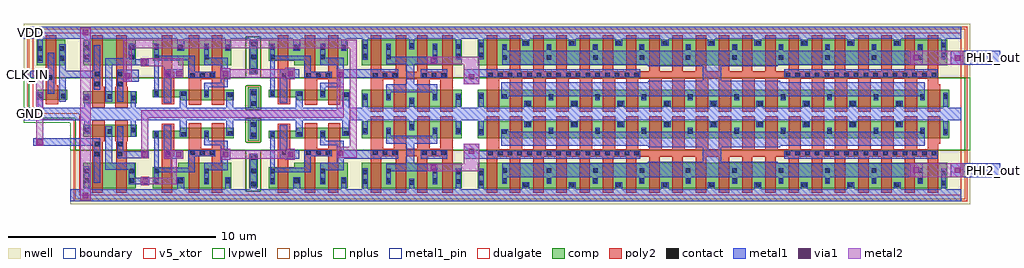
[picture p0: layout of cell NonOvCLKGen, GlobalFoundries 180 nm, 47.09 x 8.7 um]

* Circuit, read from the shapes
.subckt NonOvCLKGen CLK_IN GND PHI1_out PHI2_out VDD
XM1 gf180mcu_fd_sc_mcu7t5v0__nor2_1_3/A2 CLK_IN GND GND nfet_05v0 w=0.48u l=0.6u
XM2 gf180mcu_fd_sc_mcu7t5v0__clkbuf_2_1/I CLK_IN GND GND nfet_05v0 w=0.565u l=0.6u
XM3 gf180mcu_fd_sc_mcu7t5v0__clkbuf_2_0/I gf180mcu_fd_sc_mcu7t5v0__nor2_1_3/A2 GND GND nfet_05v0 w=0.565u l=0.6u
XM4 GND gf180mcu_fd_sc_mcu7t5v0__nor2_1_4/A1 gf180mcu_fd_sc_mcu7t5v0__clkbuf_2_1/I GND nfet_05v0 w=0.565u l=0.6u
XM5 GND gf180mcu_fd_sc_mcu7t5v0__nor2_1_3/A1 gf180mcu_fd_sc_mcu7t5v0__clkbuf_2_0/I GND nfet_05v0 w=0.565u l=0.6u
XM6 GND gf180mcu_fd_sc_mcu7t5v0__clkbuf_2_1/I n1 GND nfet_05v0 w=0.36u l=0.6u
XM7 GND gf180mcu_fd_sc_mcu7t5v0__clkbuf_2_0/I n2 GND nfet_05v0 w=0.36u l=0.6u
XM8 gf180mcu_fd_sc_mcu7t5v0__clkbuf_2_6/I n1 GND GND nfet_05v0 w=0.485u l=0.6u m=2
XM9 gf180mcu_fd_sc_mcu7t5v0__clkbuf_2_5/I n2 GND GND nfet_05v0 w=0.485u l=0.6u m=2
XM10 GND gf180mcu_fd_sc_mcu7t5v0__clkbuf_2_6/I n3 GND nfet_05v0 w=0.36u l=0.6u
XM11 GND gf180mcu_fd_sc_mcu7t5v0__clkbuf_2_5/I n4 GND nfet_05v0 w=0.36u l=0.6u
XM12 gf180mcu_fd_sc_mcu7t5v0__nor2_1_3/A1 n3 GND GND nfet_05v0 w=0.485u l=0.6u m=2
XM13 gf180mcu_fd_sc_mcu7t5v0__nor2_1_4/A1 n4 GND GND nfet_05v0 w=0.485u l=0.6u m=2
XM14 gf180mcu_fd_sc_mcu7t5v0__inv_20_11/I gf180mcu_fd_sc_mcu7t5v0__nor2_1_3/A1 GND GND nfet_05v0 w=0.82u l=0.6u m=4
XM15 gf180mcu_fd_sc_mcu7t5v0__inv_20_12/I gf180mcu_fd_sc_mcu7t5v0__nor2_1_4/A1 GND GND nfet_05v0 w=0.82u l=0.6u m=4
XM16 PHI2_out gf180mcu_fd_sc_mcu7t5v0__inv_20_11/I GND GND nfet_05v0 w=0.82u l=0.6u m=20
XM17 PHI1_out gf180mcu_fd_sc_mcu7t5v0__inv_20_12/I GND GND nfet_05v0 w=0.82u l=0.6u m=20
XM18 gf180mcu_fd_sc_mcu7t5v0__nor2_1_3/A2 CLK_IN VDD VDD pfet_05v0 w=1.22u l=0.5u
XM19 n5 CLK_IN VDD VDD pfet_05v0 w=1.22u l=0.5u
XM20 n6 gf180mcu_fd_sc_mcu7t5v0__nor2_1_3/A2 VDD VDD pfet_05v0 w=1.22u l=0.5u
XM21 gf180mcu_fd_sc_mcu7t5v0__clkbuf_2_1/I gf180mcu_fd_sc_mcu7t5v0__nor2_1_4/A1 n5 VDD pfet_05v0 w=1.22u l=0.5u
XM22 gf180mcu_fd_sc_mcu7t5v0__clkbuf_2_0/I gf180mcu_fd_sc_mcu7t5v0__nor2_1_3/A1 n6 VDD pfet_05v0 w=1.22u l=0.5u
XM23 VDD gf180mcu_fd_sc_mcu7t5v0__clkbuf_2_1/I n1 VDD pfet_05v0 w=1.02u l=0.5u
XM24 VDD gf180mcu_fd_sc_mcu7t5v0__clkbuf_2_0/I n2 VDD pfet_05v0 w=1.02u l=0.5u
XM25 gf180mcu_fd_sc_mcu7t5v0__clkbuf_2_6/I n1 VDD VDD pfet_05v0 w=1.22u l=0.5u m=2
XM26 gf180mcu_fd_sc_mcu7t5v0__clkbuf_2_5/I n2 VDD VDD pfet_05v0 w=1.22u l=0.5u m=2
XM27 VDD gf180mcu_fd_sc_mcu7t5v0__clkbuf_2_6/I n3 VDD pfet_05v0 w=1.02u l=0.5u
XM28 VDD gf180mcu_fd_sc_mcu7t5v0__clkbuf_2_5/I n4 VDD pfet_05v0 w=1.02u l=0.5u
XM29 gf180mcu_fd_sc_mcu7t5v0__nor2_1_3/A1 n3 VDD VDD pfet_05v0 w=1.22u l=0.5u m=2
XM30 gf180mcu_fd_sc_mcu7t5v0__nor2_1_4/A1 n4 VDD VDD pfet_05v0 w=1.22u l=0.5u m=2
XM31 gf180mcu_fd_sc_mcu7t5v0__inv_20_11/I gf180mcu_fd_sc_mcu7t5v0__nor2_1_3/A1 VDD VDD pfet_05v0 w=1.22u l=0.5u m=4
XM32 gf180mcu_fd_sc_mcu7t5v0__inv_20_12/I gf180mcu_fd_sc_mcu7t5v0__nor2_1_4/A1 VDD VDD pfet_05v0 w=1.22u l=0.5u m=4
XM33 PHI2_out gf180mcu_fd_sc_mcu7t5v0__inv_20_11/I VDD VDD pfet_05v0 w=1.22u l=0.5u m=20
XM34 PHI1_out gf180mcu_fd_sc_mcu7t5v0__inv_20_12/I VDD VDD pfet_05v0 w=1.22u l=0.5u m=20
.ends

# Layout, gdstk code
import gdstk
lib = gdstk.Library(unit=1e-6, precision=1e-09)
def R(c, l, rs):  # rectangles x0, y0, x1, y1
    for r in rs: c.add(gdstk.rectangle(r[:2], r[2:], *l))
def A(c, l, x, y, w, h, nx, ny, dx, dy):  # array of equal rectangles
    R(c, l, [(x+i*dx, y+j*dy, x+i*dx+w, y+j*dy+h) for i in range(nx) for j in range(ny)])
def P(c, l, *ps):  # polygons
    for p in ps: c.add(gdstk.Polygon(p, *l))
boundary = (0, 0)
nwell = (21, 0)
comp = (22, 0)
poly2 = (30, 0)
pplus = (31, 0)
nplus = (32, 0)
contact = (33, 0)
metal1 = (34, 0)
metal1_pin = (34, 10)
via1 = (35, 0)
metal2 = (36, 0)
dualgate = (55, 0)
v5_xtor = (112, 1)
lvpwell = (204, 0)

gf180mcu_fd_sc_mcu7t5v0_ = lib.new_cell('gf180mcu_fd_sc_mcu7t5v0__clkbuf_2')
R(gf180mcu_fd_sc_mcu7t5v0_, boundary, [(0,0,4.48,3.92)])
R(gf180mcu_fd_sc_mcu7t5v0_, nwell, [(-0.43,1.76,4.91,4.35)])
P(gf180mcu_fd_sc_mcu7t5v0_, comp, [(1.42,2.36),(1.42,2.56),(0.18,2.56),(0.18,3.58),(3.98,3.58),(3.98,2.36)],
  [(1.52,0.675),(1.52,0.8),(0.18,0.8),(0.18,1.16),(4.08,1.16),(4.08,0.675)])
P(gf180mcu_fd_sc_mcu7t5v0_, poly2, [(0.62,0.47),(0.62,3.8),(1.12,3.8),(1.12,2.035),(1.22,2.035),(1.22,0.47)],
  [(1.92,0.45),(1.92,3.8),(2.42,3.8),(2.42,2.035),(3.04,2.035),(3.04,3.8),(3.54,3.8),(3.54,2.035),(3.64,2.035),(3.64,0.45),(3.04,0.45),(3.04,1.675),(2.52,1.675),(2.52,0.45)])
R(gf180mcu_fd_sc_mcu7t5v0_, pplus, [(-0.2,1.76,4.68,4.12)])
R(gf180mcu_fd_sc_mcu7t5v0_, nplus, [(-0.2,-0.2,4.68,1.76)])
A(gf180mcu_fd_sc_mcu7t5v0_, contact, 1.99, 1.745, 0.22, 0.22, 3, 1, 0.47, 0)
R(gf180mcu_fd_sc_mcu7t5v0_, contact, [(3.79,0.825,4.01,1.045), (0.25,0.87,0.47,1.09), (1.55,0.87,1.77,1.09), (2.67,0.87,2.89,1.09), (0.8,1.745,1.02,1.965), (0.25,2.64,0.47,2.86), (2.67,2.64,2.89,2.86), (0.25,3.11,0.47,3.33), (1.42,3.11,1.64,3.33), (2.67,3.11,2.89,3.33), (3.69,3.11,3.91,3.33)])
P(gf180mcu_fd_sc_mcu7t5v0_, metal1, [(0.705,0.55),(0.705,2.15),(1.65,2.15),(1.65,1.74),(1.08,1.74),(1.08,0.55)],
  [(0.245,0.805),(0.245,3.39),(0.475,3.39),(0.475,2.82),(2.215,2.82),(2.215,2.04),(3.21,2.04),(3.21,1.74),(1.89,1.74),(1.89,2.59),(0.475,2.59),(0.475,0.805)],
  [(2.665,0.8),(2.665,1.51),(3.47,1.51),(3.47,2.36),(2.665,2.36),(2.665,3.39),(2.895,3.39),(2.895,2.71),(3.81,2.71),(3.81,1.28),(2.895,1.28),(2.895,0.8)],
  [(0,-0.3),(0,0.3),(1.49,0.3),(1.49,1.095),(1.83,1.095),(1.83,0.3),(3.73,0.3),(3.73,1.05),(4.07,1.05),(4.07,0.3),(4.48,0.3),(4.48,-0.3)],
  [(1.36,3.05),(1.36,3.62),(0,3.62),(0,4.22),(4.48,4.22),(4.48,3.62),(3.915,3.62),(3.915,3.05),(3.685,3.05),(3.685,3.62),(1.7,3.62),(1.7,3.05)])
R(gf180mcu_fd_sc_mcu7t5v0_, dualgate, [(-0.28,-0.28,4.76,4.2)])
R(gf180mcu_fd_sc_mcu7t5v0_, v5_xtor, [(0,0,4.48,3.92)])
R(gf180mcu_fd_sc_mcu7t5v0_, lvpwell, [(-0.43,-0.43,4.91,1.76)])
gf180mcu_fd_sc_mcu7t5v0_.add(gdstk.Label('Z', (3.08,2.52), layer=34, texttype=10))
gf180mcu_fd_sc_mcu7t5v0_.add(gdstk.Label('VSS', (2.185,0), layer=34, texttype=10))
gf180mcu_fd_sc_mcu7t5v0_.add(gdstk.Label('VDD', (2.185,3.92), layer=34, texttype=10))
gf180mcu_fd_sc_mcu7t5v0_.add(gdstk.Label('I', (0.84,1.4), layer=34, texttype=10))
gf180mcu_fd_sc_mcu7t5v0_.add(gdstk.Label('& Vendor GLOBALFOUNDRIES', (0,2), layer=63, texttype=63))
gf180mcu_fd_sc_mcu7t5v0_.add(gdstk.Label('& Product GF018hv5v_mcu_sc7', (0,1.5), layer=63, texttype=63))
gf180mcu_fd_sc_mcu7t5v0_.add(gdstk.Label('& Version 2015q2v1', (0,1), layer=63, texttype=63))
gf180mcu_fd_sc_mcu7t5v0_.add(gdstk.Label('& Metric 1.00', (0,0.5), layer=63, texttype=63))
gf180mcu_fd_sc_mcu7t5v0_.add(gdstk.Label('VNW', (0.345,3.92), layer=21, texttype=10))
gf180mcu_fd_sc_mcu7t5v0_.add(gdstk.Label('VPW', (0.34,-0.085), layer=204, texttype=10))

c_gf180mcu_fd_sc_mcu7t5v0_ = lib.new_cell('gf180mcu_fd_sc_mcu7t5v0__clkinv_1')
R(c_gf180mcu_fd_sc_mcu7t5v0_, boundary, [(0,0,2.24,3.92)])
R(c_gf180mcu_fd_sc_mcu7t5v0_, nwell, [(-0.43,1.76,2.67,4.35)])
R(c_gf180mcu_fd_sc_mcu7t5v0_, comp, [(0.18,0.68,1.66,1.16), (0.18,2.36,1.56,3.58)])
P(c_gf180mcu_fd_sc_mcu7t5v0_, poly2, [(0.62,0.46),(0.62,3.8),(1.12,3.8),(1.12,1.38),(1.22,1.38),(1.22,0.46)])
R(c_gf180mcu_fd_sc_mcu7t5v0_, pplus, [(-0.2,1.76,2.44,4.12)])
R(c_gf180mcu_fd_sc_mcu7t5v0_, nplus, [(-0.2,-0.2,2.44,1.76)])
R(c_gf180mcu_fd_sc_mcu7t5v0_, contact, [(0.25,0.76,0.47,0.98), (1.37,0.76,1.59,0.98), (0.71,1.66,0.93,1.88), (0.25,2.58,0.47,2.8), (1.27,2.58,1.49,2.8), (0.25,3.05,0.47,3.27), (1.27,3.05,1.49,3.27)])
R(c_gf180mcu_fd_sc_mcu7t5v0_, metal1, [(1.26,0.6,1.595,3.37), (0.705,0.97,1.03,2.95)])
P(c_gf180mcu_fd_sc_mcu7t5v0_, metal1, [(0,-0.3),(0,0.3),(0.245,0.3),(0.245,1.04),(0.475,1.04),(0.475,0.3),(2.24,0.3),(2.24,-0.3)],
  [(0.245,2.48),(0.245,3.62),(0,3.62),(0,4.22),(2.24,4.22),(2.24,3.62),(0.475,3.62),(0.475,2.48)])
R(c_gf180mcu_fd_sc_mcu7t5v0_, dualgate, [(-0.28,-0.28,2.52,4.2)])
R(c_gf180mcu_fd_sc_mcu7t5v0_, v5_xtor, [(0,0,2.24,3.92)])
R(c_gf180mcu_fd_sc_mcu7t5v0_, lvpwell, [(-0.43,-0.43,2.67,1.76)])
c_gf180mcu_fd_sc_mcu7t5v0_.add(gdstk.Label('VDD', (1.4,3.92), layer=34, texttype=10))
c_gf180mcu_fd_sc_mcu7t5v0_.add(gdstk.Label('VSS', (1.4,0), layer=34, texttype=10))
c_gf180mcu_fd_sc_mcu7t5v0_.add(gdstk.Label('I', (0.84,1.96), layer=34, texttype=10))
c_gf180mcu_fd_sc_mcu7t5v0_.add(gdstk.Label('ZN', (1.4,1.96), layer=34, texttype=10))
c_gf180mcu_fd_sc_mcu7t5v0_.add(gdstk.Label('& Vendor GLOBALFOUNDRIES', (0,2), layer=63, texttype=63))
c_gf180mcu_fd_sc_mcu7t5v0_.add(gdstk.Label('& Product GF018hv5v_mcu_sc7', (0,1.5), layer=63, texttype=63))
c_gf180mcu_fd_sc_mcu7t5v0_.add(gdstk.Label('& Version 2015q2v1', (0,1), layer=63, texttype=63))
c_gf180mcu_fd_sc_mcu7t5v0_.add(gdstk.Label('& Metric 1.00', (0,0.5), layer=63, texttype=63))
c_gf180mcu_fd_sc_mcu7t5v0_.add(gdstk.Label('VNW', (0.345,3.92), layer=21, texttype=10))
c_gf180mcu_fd_sc_mcu7t5v0_.add(gdstk.Label('VPW', (0.34,-0.085), layer=204, texttype=10))

c_gf180mcu_fd_sc_mcu7t5v0__ = lib.new_cell('gf180mcu_fd_sc_mcu7t5v0__nor2_1')
R(c_gf180mcu_fd_sc_mcu7t5v0__, boundary, [(0,0,3.36,3.92)])
R(c_gf180mcu_fd_sc_mcu7t5v0__, nwell, [(-0.43,1.76,3.79,4.35)])
R(c_gf180mcu_fd_sc_mcu7t5v0__, comp, [(0.18,0.525,2.78,1.09), (0.18,2.36,2.73,3.58)])
P(c_gf180mcu_fd_sc_mcu7t5v0__, poly2, [(0.62,0.305),(0.62,3.8),(1.12,3.8),(1.12,1.315),(1.22,1.315),(1.22,0.305)],
  [(1.74,0.305),(1.74,1.315),(1.79,1.315),(1.79,3.8),(2.29,3.8),(2.29,1.315),(2.34,1.315),(2.34,0.305)])
R(c_gf180mcu_fd_sc_mcu7t5v0__, pplus, [(-0.2,1.76,3.56,4.12)])
R(c_gf180mcu_fd_sc_mcu7t5v0__, nplus, [(-0.2,-0.2,3.56,1.76)])
R(c_gf180mcu_fd_sc_mcu7t5v0__, contact, [(0.25,0.665,0.47,0.885), (2.49,0.665,2.71,0.885), (1.37,0.735,1.59,0.955), (0.74,1.345,0.96,1.565), (1.86,1.345,2.08,1.565), (0.74,1.815,0.96,2.035), (1.86,1.815,2.08,2.035), (0.25,2.63,0.47,2.85), (2.44,2.63,2.66,2.85), (0.25,3.1,0.47,3.32), (2.44,3.1,2.66,3.32)])
R(c_gf180mcu_fd_sc_mcu7t5v0__, metal1, [(0.705,1.18,1.01,3.32)])
P(c_gf180mcu_fd_sc_mcu7t5v0__, metal1, [(1.24,0.6),(1.24,2.68),(2.385,2.68),(2.385,3.38),(2.665,3.38),(2.665,2.36),(1.595,2.36),(1.595,0.6)],
  [(1.825,0.6),(1.825,2.13),(2.855,2.13),(2.855,1.79),(2.13,1.79),(2.13,0.6)],
  [(0,-0.3),(0,0.3),(0.245,0.3),(0.245,0.945),(0.475,0.945),(0.475,0.3),(2.485,0.3),(2.485,1.09),(2.715,1.09),(2.715,0.3),(3.36,0.3),(3.36,-0.3)],
  [(0.245,2.53),(0.245,3.62),(0,3.62),(0,4.22),(3.36,4.22),(3.36,3.62),(0.475,3.62),(0.475,2.53)])
R(c_gf180mcu_fd_sc_mcu7t5v0__, dualgate, [(-0.28,-0.28,3.64,4.2)])
R(c_gf180mcu_fd_sc_mcu7t5v0__, v5_xtor, [(0,0,3.36,3.92)])
R(c_gf180mcu_fd_sc_mcu7t5v0__, lvpwell, [(-0.43,-0.43,3.79,1.76)])
c_gf180mcu_fd_sc_mcu7t5v0__.add(gdstk.Label('VDD', (1.68,3.925), layer=34, texttype=10))
c_gf180mcu_fd_sc_mcu7t5v0__.add(gdstk.Label('VSS', (1.68,0), layer=34, texttype=10))
c_gf180mcu_fd_sc_mcu7t5v0__.add(gdstk.Label('ZN', (1.96,2.52), layer=34, texttype=10))
c_gf180mcu_fd_sc_mcu7t5v0__.add(gdstk.Label('A1', (1.96,1.4), layer=34, texttype=10))
c_gf180mcu_fd_sc_mcu7t5v0__.add(gdstk.Label('A2', (0.84,2.52), layer=34, texttype=10))
c_gf180mcu_fd_sc_mcu7t5v0__.add(gdstk.Label('& Vendor GLOBALFOUNDRIES', (0,2), layer=63, texttype=63))
c_gf180mcu_fd_sc_mcu7t5v0__.add(gdstk.Label('& Product GF018hv5v_mcu_sc7', (0,1.5), layer=63, texttype=63))
c_gf180mcu_fd_sc_mcu7t5v0__.add(gdstk.Label('& Version 2015q2v1', (0,1), layer=63, texttype=63))
c_gf180mcu_fd_sc_mcu7t5v0__.add(gdstk.Label('& Metric 1.00', (0,0.5), layer=63, texttype=63))
c_gf180mcu_fd_sc_mcu7t5v0__.add(gdstk.Label('VNW', (0.345,3.92), layer=21, texttype=10))
c_gf180mcu_fd_sc_mcu7t5v0__.add(gdstk.Label('VPW', (0.34,-0.085), layer=204, texttype=10))

c_gf180mcu_fd_sc_mcu7t5v0___ = lib.new_cell('gf180mcu_fd_sc_mcu7t5v0__filltie')
R(c_gf180mcu_fd_sc_mcu7t5v0___, boundary, [(0,0,1.12,3.92)])
R(c_gf180mcu_fd_sc_mcu7t5v0___, nwell, [(-0.43,1.76,1.55,4.35)])
R(c_gf180mcu_fd_sc_mcu7t5v0___, comp, [(0.28,0.28,0.84,1.28), (0.36,1.92,0.76,3.56)])
R(c_gf180mcu_fd_sc_mcu7t5v0___, pplus, [(0.2,0.2,0.92,1.36)])
P(c_gf180mcu_fd_sc_mcu7t5v0___, pplus, [(-0.2,1.76),(-0.2,4.12),(1.32,4.12),(1.32,1.76),(0.92,1.76),(0.92,3.72),(0.2,3.72),(0.2,1.76)])
P(c_gf180mcu_fd_sc_mcu7t5v0___, nplus, [(-0.2,-0.2),(-0.2,1.76),(0.2,1.76),(0.2,3.72),(0.92,3.72),(0.92,1.36),(0.2,1.36),(0.2,0.2),(0.92,0.2),(0.92,3.72),(0.92,1.76),(1.32,1.76),(1.32,-0.2)])
A(c_gf180mcu_fd_sc_mcu7t5v0___, contact, 0.45, 1.99, 0.22, 0.22, 1, 3, 0, 0.64)
R(c_gf180mcu_fd_sc_mcu7t5v0___, contact, [(0.45,0.4,0.67,0.62), (0.45,0.905,0.67,1.125)])
P(c_gf180mcu_fd_sc_mcu7t5v0___, metal1, [(0,-0.3),(0,0.3),(0.39,0.3),(0.39,1.185),(0.73,1.185),(0.73,0.3),(1.12,0.3),(1.12,-0.3)],
  [(0.39,1.93),(0.39,3.62),(0,3.62),(0,4.22),(1.12,4.22),(1.12,3.62),(0.73,3.62),(0.73,1.93)])
R(c_gf180mcu_fd_sc_mcu7t5v0___, dualgate, [(-0.28,-0.28,1.4,4.2)])
R(c_gf180mcu_fd_sc_mcu7t5v0___, v5_xtor, [(0,0,1.12,3.92)])
R(c_gf180mcu_fd_sc_mcu7t5v0___, lvpwell, [(-0.43,-0.43,1.55,1.76)])
c_gf180mcu_fd_sc_mcu7t5v0___.add(gdstk.Label('VDD', (0.57,3.92), layer=34, texttype=10))
c_gf180mcu_fd_sc_mcu7t5v0___.add(gdstk.Label('VSS', (0.57,0), layer=34, texttype=10))
c_gf180mcu_fd_sc_mcu7t5v0___.add(gdstk.Label('& Vendor GLOBALFOUNDRIES', (0,2), layer=63, texttype=63))
c_gf180mcu_fd_sc_mcu7t5v0___.add(gdstk.Label('& Product GF018hv5v_mcu_sc7', (0,1.5), layer=63, texttype=63))
c_gf180mcu_fd_sc_mcu7t5v0___.add(gdstk.Label('& Version 2015q2v1', (0,1), layer=63, texttype=63))
c_gf180mcu_fd_sc_mcu7t5v0___.add(gdstk.Label('& Metric 1.00', (0,0.5), layer=63, texttype=63))

c_gf180mcu_fd_sc_mcu7t5v0____ = lib.new_cell('gf180mcu_fd_sc_mcu7t5v0__inv_4')
R(c_gf180mcu_fd_sc_mcu7t5v0____, boundary, [(0,0,5.6,3.92)])
R(c_gf180mcu_fd_sc_mcu7t5v0____, nwell, [(-0.43,1.76,6.03,4.35)])
R(c_gf180mcu_fd_sc_mcu7t5v0____, comp, [(0.18,0.34,5.02,1.16), (0.18,2.36,5.02,3.58)])
P(c_gf180mcu_fd_sc_mcu7t5v0____, poly2, [(0.62,0.12),(0.62,3.8),(1.12,3.8),(1.12,2.035),(1.84,2.035),(1.84,3.8),(2.34,3.8),(2.34,2.035),(2.86,2.035),(2.86,3.8),(3.36,3.8),(3.36,2.035),(4.08,2.035),(4.08,3.8),(4.58,3.8),(4.58,0.12),(3.98,0.12),(3.98,1.675),(3.46,1.675),(3.46,0.12),(2.86,0.12),(2.86,1.675),(2.34,1.675),(2.34,0.12),(1.74,0.12),(1.74,1.675),(1.22,1.675),(1.22,0.12)])
R(c_gf180mcu_fd_sc_mcu7t5v0____, pplus, [(-0.2,1.76,5.8,4.12)])
R(c_gf180mcu_fd_sc_mcu7t5v0____, nplus, [(-0.2,-0.2,5.8,1.76)])
A(c_gf180mcu_fd_sc_mcu7t5v0____, contact, 0.73, 1.745, 0.22, 0.22, 3, 1, 0.47, 0)
A(c_gf180mcu_fd_sc_mcu7t5v0____, contact, 3.095, 1.745, 0.22, 0.22, 3, 1, 0.47, 0)
R(c_gf180mcu_fd_sc_mcu7t5v0____, contact, [(2.49,0.49,2.71,0.71), (0.25,0.69,0.47,0.91), (4.73,0.69,4.95,0.91), (1.37,0.735,1.59,0.955), (3.61,0.735,3.83,0.955), (1.37,2.63,1.59,2.85), (3.61,2.63,3.83,2.85), (0.25,2.68,0.47,2.9), (4.73,2.68,4.95,2.9), (1.37,3.1,1.59,3.32), (3.61,3.1,3.83,3.32), (0.25,3.15,0.47,3.37), (4.73,3.15,4.95,3.37), (2.49,3.19,2.71,3.41)])
R(c_gf180mcu_fd_sc_mcu7t5v0____, metal1, [(0.37,1.74,1.95,2.15), (3.035,1.74,4.315,2.15)])
P(c_gf180mcu_fd_sc_mcu7t5v0____, metal1, [(1.365,0.675),(1.365,1.44),(2.33,1.44),(2.33,2.39),(1.365,2.39),(1.365,3.39),(1.595,3.39),(1.595,2.77),(3.605,2.77),(3.605,3.39),(3.835,3.39),(3.835,2.39),(2.71,2.39),(2.71,1.44),(3.835,1.44),(3.835,0.675),(3.605,0.675),(3.605,1.06),(1.595,1.06),(1.595,0.675)],
  [(0,-0.3),(0,0.3),(0.245,0.3),(0.245,0.97),(0.475,0.97),(0.475,0.3),(2.485,0.3),(2.485,0.775),(2.715,0.775),(2.715,0.3),(4.725,0.3),(4.725,0.975),(4.955,0.975),(4.955,0.3),(5.6,0.3),(5.6,-0.3)],
  [(0.245,2.615),(0.245,3.62),(0,3.62),(0,4.22),(5.6,4.22),(5.6,3.62),(4.955,3.62),(4.955,2.62),(4.725,2.62),(4.725,3.62),(2.715,3.62),(2.715,3.13),(2.485,3.13),(2.485,3.62),(0.475,3.62),(0.475,2.615)])
R(c_gf180mcu_fd_sc_mcu7t5v0____, dualgate, [(-0.28,-0.28,5.88,4.2)])
R(c_gf180mcu_fd_sc_mcu7t5v0____, v5_xtor, [(0,0,5.6,3.92)])
R(c_gf180mcu_fd_sc_mcu7t5v0____, lvpwell, [(-0.43,-0.43,6.03,1.76)])
c_gf180mcu_fd_sc_mcu7t5v0____.add(gdstk.Label('VSS', (2.8,-0.025), layer=34, texttype=10))
c_gf180mcu_fd_sc_mcu7t5v0____.add(gdstk.Label('ZN', (2.52,1.96), layer=34, texttype=10))
c_gf180mcu_fd_sc_mcu7t5v0____.add(gdstk.Label('I', (1.4,1.96), layer=34, texttype=10))
c_gf180mcu_fd_sc_mcu7t5v0____.add(gdstk.Label('VDD', (2.8,3.93), layer=34, texttype=10))
c_gf180mcu_fd_sc_mcu7t5v0____.add(gdstk.Label('& Vendor GLOBALFOUNDRIES', (0,2), layer=63, texttype=63))
c_gf180mcu_fd_sc_mcu7t5v0____.add(gdstk.Label('& Product GF018hv5v_mcu_sc7', (0,1.5), layer=63, texttype=63))
c_gf180mcu_fd_sc_mcu7t5v0____.add(gdstk.Label('& Version 2015q2v1', (0,1), layer=63, texttype=63))
c_gf180mcu_fd_sc_mcu7t5v0____.add(gdstk.Label('& Metric 1.00', (0,0.5), layer=63, texttype=63))
c_gf180mcu_fd_sc_mcu7t5v0____.add(gdstk.Label('VNW', (0.345,3.92), layer=21, texttype=10))
c_gf180mcu_fd_sc_mcu7t5v0____.add(gdstk.Label('VPW', (0.34,-0.085), layer=204, texttype=10))

c_gf180mcu_fd_sc_mcu7t5v0_____ = lib.new_cell('gf180mcu_fd_sc_mcu7t5v0__inv_20')
R(c_gf180mcu_fd_sc_mcu7t5v0_____, boundary, [(0,0,23.52,3.92)])
R(c_gf180mcu_fd_sc_mcu7t5v0_____, nwell, [(-0.43,1.76,23.95,4.35)])
R(c_gf180mcu_fd_sc_mcu7t5v0_____, comp, [(0.18,0.34,22.94,1.16), (0.18,2.36,22.84,3.58)])
P(c_gf180mcu_fd_sc_mcu7t5v0_____, poly2, [(0.62,0.12),(0.62,3.8),(1.12,3.8),(1.12,2.06),(1.74,2.06),(1.74,3.8),(2.24,3.8),(2.24,2.06),(2.86,2.06),(2.86,3.8),(3.36,3.8),(3.36,2.06),(3.98,2.06),(3.98,3.8),(4.48,3.8),(4.48,2.06),(5.1,2.06),(5.1,3.8),(5.6,3.8),(5.6,2.06),(6.22,2.06),(6.22,3.8),(6.72,3.8),(6.72,2.06),(7.34,2.06),(7.34,3.8),(7.84,3.8),(7.84,2.06),(8.46,2.06),(8.46,3.8),(8.96,3.8),(8.96,2.06),(9.58,2.06),(9.58,3.8),(10.08,3.8),(10.08,2.06),(10.7,2.06),(10.7,3.8),(11.2,3.8),(11.2,2.06),(11.82,2.06),(11.82,3.8),(12.32,3.8),(12.32,2.06),(12.94,2.06),(12.94,3.8),(13.44,3.8),(13.44,2.06),(14.06,2.06),(14.06,3.8),(14.56,3.8),(14.56,2.06),(15.18,2.06),(15.18,3.8),(15.68,3.8),(15.68,2.06),(16.3,2.06),(16.3,3.8),(16.8,3.8),(16.8,2.06),(17.42,2.06),(17.42,3.8),(17.92,3.8),(17.92,2.06),(18.54,2.06),(18.54,3.8),(19.04,3.8),(19.04,2.06),(19.66,2.06),(19.66,3.8),(20.16,3.8),(20.16,2.06),(20.78,2.06),(20.78,3.8),(21.28,3.8),(21.28,2.06),(21.9,2.06),(21.9,3.8),(22.4,3.8),(22.4,1.44),(22.5,1.44),(22.5,0.12),(21.9,0.12),(21.9,1.7),(21.38,1.7),(21.38,0.12),(20.78,0.12),(20.78,1.7),(20.26,1.7),(20.26,0.12),(19.66,0.12),(19.66,1.7),(19.14,1.7),(19.14,0.12),(18.54,0.12),(18.54,1.7),(18.02,1.7),(18.02,0.12),(17.42,0.12),(17.42,1.7),(16.9,1.7),(16.9,0.12),(16.3,0.12),(16.3,1.7),(15.78,1.7),(15.78,0.12),(15.18,0.12),(15.18,1.7),(14.66,1.7),(14.66,0.12),(14.06,0.12),(14.06,1.7),(13.54,1.7),(13.54,0.12),(12.94,0.12),(12.94,1.7),(12.42,1.7),(12.42,0.12),(11.82,0.12),(11.82,1.7),(11.3,1.7),(11.3,0.12),(10.7,0.12),(10.7,1.7),(10.18,1.7),(10.18,0.12),(9.58,0.12),(9.58,1.7),(9.06,1.7),(9.06,0.12),(8.46,0.12),(8.46,1.7),(7.94,1.7),(7.94,0.12),(7.34,0.12),(7.34,1.7),(6.82,1.7),(6.82,0.12),(6.22,0.12),(6.22,1.7),(5.7,1.7),(5.7,0.12),(5.1,0.12),(5.1,1.7),(4.58,1.7),(4.58,0.12),(3.98,0.12),(3.98,1.7),(3.46,1.7),(3.46,0.12),(2.86,0.12),(2.86,1.7),(2.34,1.7),(2.34,0.12),(1.74,0.12),(1.74,1.7),(1.22,1.7),(1.22,0.12)])
R(c_gf180mcu_fd_sc_mcu7t5v0_____, pplus, [(-0.2,1.76,23.72,4.12)])
R(c_gf180mcu_fd_sc_mcu7t5v0_____, nplus, [(-0.2,-0.2,23.72,1.76)])
A(c_gf180mcu_fd_sc_mcu7t5v0_____, contact, 2.49, 0.41, 0.22, 0.22, 9, 1, 2.24, 0)
A(c_gf180mcu_fd_sc_mcu7t5v0_____, contact, 1.37, 0.735, 0.22, 0.22, 10, 1, 2.24, 0)
A(c_gf180mcu_fd_sc_mcu7t5v0_____, contact, 0.69, 1.77, 0.22, 0.22, 16, 1, 0.47, 0)
A(c_gf180mcu_fd_sc_mcu7t5v0_____, contact, 15.045, 1.77, 0.22, 0.22, 16, 1, 0.47, 0)
A(c_gf180mcu_fd_sc_mcu7t5v0_____, contact, 3.51, 2.625, 0.22, 0.22, 9, 2, 2.24, 0.47)
A(c_gf180mcu_fd_sc_mcu7t5v0_____, contact, 2.39, 3.29, 0.22, 0.22, 9, 1, 2.24, 0)
R(c_gf180mcu_fd_sc_mcu7t5v0_____, contact, [(0.25,0.735,0.47,0.955), (22.65,0.735,22.87,0.955), (1.37,2.625,1.59,2.845), (0.25,2.74,0.47,2.96), (22.55,2.74,22.77,2.96), (1.37,3.095,1.59,3.315), (0.25,3.21,0.47,3.43), (22.55,3.21,22.77,3.43)])
R(c_gf180mcu_fd_sc_mcu7t5v0_____, metal1, [(0.61,1.765,8.02,2.15), (14.985,1.765,22.375,2.15)])
P(c_gf180mcu_fd_sc_mcu7t5v0_____, metal1, [(3.605,0.675),(3.605,0.865),(1.65,0.865),(1.65,0.73),(1.31,0.73),(1.31,1.535),(8.415,1.535),(8.415,1.605),(11.03,1.605),(11.03,2.315),(8.395,2.315),(8.395,2.38),(1.365,2.38),(1.365,3.375),(1.595,3.375),(1.595,3.055),(3.505,3.055),(3.505,3.375),(3.735,3.375),(3.735,3.055),(5.745,3.055),(5.745,3.375),(5.975,3.375),(5.975,3.055),(7.985,3.055),(7.985,3.375),(8.215,3.375),(8.215,3.055),(10.225,3.055),(10.225,3.375),(10.455,3.375),(10.455,3.055),(12.465,3.055),(12.465,3.375),(12.695,3.375),(12.695,3.055),(14.705,3.055),(14.705,3.375),(14.935,3.375),(14.935,3.055),(16.945,3.055),(16.945,3.375),(17.175,3.375),(17.175,3.055),(19.185,3.055),(19.185,3.375),(19.415,3.375),(19.415,3.055),(21.425,3.055),(21.425,3.375),(21.655,3.375),(21.655,2.38),(14.665,2.38),(14.665,2.315),(11.93,2.315),(11.93,1.605),(14.77,1.605),(14.77,1.535),(21.755,1.535),(21.755,0.675),(21.525,0.675),(21.525,0.865),(19.515,0.865),(19.515,0.675),(19.285,0.675),(19.285,0.865),(17.275,0.865),(17.275,0.675),(17.045,0.675),(17.045,0.865),(15.035,0.865),(15.035,0.675),(14.805,0.675),(14.805,0.865),(12.795,0.865),(12.795,0.675),(12.565,0.675),(12.565,0.865),(10.555,0.865),(10.555,0.675),(10.325,0.675),(10.325,0.865),(8.315,0.865),(8.315,0.675),(8.085,0.675),(8.085,0.865),(6.075,0.865),(6.075,0.675),(5.845,0.675),(5.845,0.865),(3.835,0.865),(3.835,0.675)],
  [(0,-0.3),(0,0.3),(0.245,0.3),(0.245,1.015),(0.475,1.015),(0.475,0.3),(2.43,0.3),(2.43,0.635),(2.77,0.635),(2.77,0.3),(4.67,0.3),(4.67,0.635),(5.01,0.635),(5.01,0.3),(6.91,0.3),(6.91,0.635),(7.25,0.635),(7.25,0.3),(9.15,0.3),(9.15,0.635),(9.49,0.635),(9.49,0.3),(11.39,0.3),(11.39,0.635),(11.73,0.635),(11.73,0.3),(13.63,0.3),(13.63,0.635),(13.97,0.635),(13.97,0.3),(15.87,0.3),(15.87,0.635),(16.21,0.635),(16.21,0.3),(18.11,0.3),(18.11,0.635),(18.45,0.635),(18.45,0.3),(20.35,0.3),(20.35,0.635),(20.69,0.635),(20.69,0.3),(22.645,0.3),(22.645,1.015),(22.875,1.015),(22.875,0.3),(23.52,0.3),(23.52,-0.3)],
  [(0.245,2.64),(0.245,3.62),(0,3.62),(0,4.22),(23.52,4.22),(23.52,3.62),(22.775,3.62),(22.775,2.64),(22.545,2.64),(22.545,3.62),(20.59,3.62),(20.59,3.285),(20.25,3.285),(20.25,3.62),(18.35,3.62),(18.35,3.285),(18.01,3.285),(18.01,3.62),(16.11,3.62),(16.11,3.285),(15.77,3.285),(15.77,3.62),(13.87,3.62),(13.87,3.285),(13.53,3.285),(13.53,3.62),(11.63,3.62),(11.63,3.285),(11.29,3.285),(11.29,3.62),(9.39,3.62),(9.39,3.285),(9.05,3.285),(9.05,3.62),(7.15,3.62),(7.15,3.285),(6.81,3.285),(6.81,3.62),(4.91,3.62),(4.91,3.285),(4.57,3.285),(4.57,3.62),(2.67,3.62),(2.67,3.285),(2.33,3.285),(2.33,3.62),(0.475,3.62),(0.475,2.64)])
R(c_gf180mcu_fd_sc_mcu7t5v0_____, dualgate, [(-0.28,-0.28,23.8,4.2)])
R(c_gf180mcu_fd_sc_mcu7t5v0_____, v5_xtor, [(0,0,23.52,3.92)])
R(c_gf180mcu_fd_sc_mcu7t5v0_____, lvpwell, [(-0.43,-0.43,23.95,1.76)])
c_gf180mcu_fd_sc_mcu7t5v0_____.add(gdstk.Label('VSS', (11.76,0.005), layer=34, texttype=10))
c_gf180mcu_fd_sc_mcu7t5v0_____.add(gdstk.Label('ZN', (11.48,1.96), layer=34, texttype=10))
c_gf180mcu_fd_sc_mcu7t5v0_____.add(gdstk.Label('I', (4.2,1.96), layer=34, texttype=10))
c_gf180mcu_fd_sc_mcu7t5v0_____.add(gdstk.Label('VDD', (11.76,3.905), layer=34, texttype=10))
c_gf180mcu_fd_sc_mcu7t5v0_____.add(gdstk.Label('& Vendor GLOBALFOUNDRIES', (0,2), layer=63, texttype=63))
c_gf180mcu_fd_sc_mcu7t5v0_____.add(gdstk.Label('& Product GF018hv5v_mcu_sc7', (0,1.5), layer=63, texttype=63))
c_gf180mcu_fd_sc_mcu7t5v0_____.add(gdstk.Label('& Version 2015q2v1', (0,1), layer=63, texttype=63))
c_gf180mcu_fd_sc_mcu7t5v0_____.add(gdstk.Label('& Metric 1.00', (0,0.5), layer=63, texttype=63))
c_gf180mcu_fd_sc_mcu7t5v0_____.add(gdstk.Label('VNW', (0.345,3.92), layer=21, texttype=10))
c_gf180mcu_fd_sc_mcu7t5v0_____.add(gdstk.Label('VPW', (0.34,-0.085), layer=204, texttype=10))

nonovclkgen = lib.new_cell('NonOvCLKGen')
R(nonovclkgen, nwell, [(-7,-3.36,-5.54,-3.025)])
R(nonovclkgen, metal1, [(-4.76,-9.34,-4.16,-9.175), (-4.76,-9.175,-3.91,-8.915), (-4.76,-8.915,-4.16,-8.74), (-1.945,-8.5,-0.955,-8.2), (37.715,-8.165,40.095,-7.49), (35.805,-8.045,36.28,-7.585), (12.6,-7.85,12.895,-7.55), (2.5,-7.335,2.95,-6.795), (8.1,-7.295,8.435,-7.27), (5.615,-7.27,6.105,-6.86), (8.44,-7.27,9.48,-6.86), (14.23,-7.27,15.32,-6.885), (-1.825,-7.25,-0.98,-6.97), (-0.2,-7.205,0.615,-6.925), (8.125,-7.18,8.42,-6.85), (-1.58,-6.97,-0.98,-6.91), (14.23,-6.885,14.96,-6.56), (-6.56,-6.64,-3.32,-6.3), (-7,-5.42,-6.4,-4.82), (14.23,-3.68,14.96,-3.355), (-2.2,-3.57,-1.475,-2.99), (2.5,-3.445,2.95,-2.905), (0.38,-3.38,0.68,-3.31), (5.615,-3.38,6.105,-2.97), (8.44,-3.38,9.48,-2.97), (8.125,-3.375,8.42,-3.045), (-7,-3.36,-5.54,-3.025), (-5.305,-3.36,-3.385,-3.025), (14.23,-3.355,15.32,-2.97), (-0.195,-3.31,0.68,-3.3), (-0.195,-3.3,0.62,-3.03), (-1.365,-2.765,-0.985,-2.76), (-1.93,-2.76,-0.985,-2.495), (37.715,-2.74,40.095,-2.065), (12.6,-2.69,12.895,-2.39), (35.805,-2.62,36.28,-2.16), (-1.67,-2.495,-0.985,-2.485), (-7,-1.5,-6.4,-0.9), (-4.165,-1.325,-3.905,-1.065)])
R(nonovclkgen, metal1_pin, [(39.49,-8.165,40.095,-7.49), (-7,-5.42,-6.4,-4.82), (-7,-3.36,-6.665,-3.025), (39.49,-2.74,40.095,-2.065), (-7,-1.5,-6.4,-0.9)])
R(nonovclkgen, via1, [(-4.17,-9.175,-3.91,-8.915), (-1.3,-8.48,-1.04,-8.22), (37.915,-7.965,38.175,-7.705), (35.91,-7.945,36.17,-7.685), (12.615,-7.83,12.875,-7.57), (-1.3,-7.205,-1.04,-6.945), (-0.185,-7.195,0.075,-6.935), (0.335,-7.195,0.595,-6.935), (2.585,-7.195,2.845,-6.935), (5.73,-7.195,5.99,-6.935), (8.14,-7.145,8.4,-6.885), (14.46,-7.05,14.72,-6.79), (-6.36,-6.595,-6.1,-6.335), (14.46,-3.45,14.72,-3.19), (-2.135,-3.41,-1.875,-3.15), (8.14,-3.34,8.4,-3.08), (-6.365,-3.32,-6.105,-3.06), (2.585,-3.305,2.845,-3.045), (5.73,-3.305,5.99,-3.045), (-0.18,-3.3,0.08,-3.04), (0.34,-3.3,0.6,-3.04), (-1.315,-2.755,-1.055,-2.495), (12.615,-2.67,12.875,-2.41), (37.915,-2.54,38.175,-2.28), (35.91,-2.52,36.17,-2.26), (-4.165,-1.325,-3.905,-1.065)])
R(nonovclkgen, metal2, [(-4.28,-9.29,-3.78,-0.95), (-1.37,-8.55,-0.955,-8.5), (-1.37,-8.5,0.38,-8.2), (-1.37,-8.2,-0.955,-8.15), (0.08,-8.2,0.38,-7.27), (35.74,-8.165,38.31,-7.49), (12.47,-7.89,14.96,-7.51), (14.23,-7.51,14.96,-6.56), (2.47,-7.335,2.95,-7.27), (5.605,-7.325,6.075,-7.27), (-0.265,-7.27,0.68,-6.86), (2.47,-7.27,6.075,-6.86), (-1.34,-7.25,-1,-5.29), (8.1,-7.24,9.065,-6.71), (2.47,-6.86,2.95,-6.795), (5.605,-6.86,6.075,-6.785), (8.725,-6.71,9.065,-1.945), (-6.4,-6.655,-6.065,-2.98), (-1.34,-5.29,8.44,-4.95), (8.1,-4.95,8.44,-2.98), (14.23,-3.68,14.96,-2.73), (-2.2,-3.57,-1.795,-1.945), (2.47,-3.445,2.95,-3.38), (5.605,-3.435,6.075,-3.38), (-0.265,-3.38,0.68,-2.97), (2.47,-3.38,6.075,-2.97), (-0.265,-2.97,0.675,-2.82), (2.47,-2.97,2.95,-2.905), (5.605,-2.97,6.075,-2.895), (-1.375,-2.82,0.675,-2.43), (35.74,-2.74,38.31,-2.065), (12.47,-2.73,14.96,-2.35), (-2.2,-1.945,9.065,-1.54)])
nonovclkgen.add(gdstk.Reference(gf180mcu_fd_sc_mcu7t5v0_, (-0.97,-5.12)))
nonovclkgen.add(gdstk.Reference(gf180mcu_fd_sc_mcu7t5v0_, (-0.97,-5.12), x_reflection=True))
nonovclkgen.add(gdstk.Reference(c_gf180mcu_fd_sc_mcu7t5v0_, (-6.57,-5.12)))
nonovclkgen.add(gdstk.Reference(c_gf180mcu_fd_sc_mcu7t5v0__, (-4.33,-5.12)))
nonovclkgen.add(gdstk.Reference(c_gf180mcu_fd_sc_mcu7t5v0__, (-4.33,-5.12), x_reflection=True))
nonovclkgen.add(gdstk.Reference(gf180mcu_fd_sc_mcu7t5v0_, (4.63,-5.12)))
nonovclkgen.add(gdstk.Reference(gf180mcu_fd_sc_mcu7t5v0_, (4.63,-5.12), x_reflection=True))
nonovclkgen.add(gdstk.Reference(c_gf180mcu_fd_sc_mcu7t5v0___, (3.51,-5.12)))
nonovclkgen.add(gdstk.Reference(c_gf180mcu_fd_sc_mcu7t5v0___, (3.51,-5.12), x_reflection=True))
nonovclkgen.add(gdstk.Reference(c_gf180mcu_fd_sc_mcu7t5v0____, (9.11,-5.12)))
nonovclkgen.add(gdstk.Reference(c_gf180mcu_fd_sc_mcu7t5v0____, (9.11,-5.12), x_reflection=True))
nonovclkgen.add(gdstk.Reference(c_gf180mcu_fd_sc_mcu7t5v0_____, (14.71,-5.12), x_reflection=True))
nonovclkgen.add(gdstk.Reference(c_gf180mcu_fd_sc_mcu7t5v0_____, (14.71,-5.12)))
nonovclkgen.add(gdstk.Label('CLK_IN', (-6.832,-3.192), layer=34, texttype=10))
nonovclkgen.add(gdstk.Label('VDD', (-6.7,-1.2), layer=34, texttype=10))
nonovclkgen.add(gdstk.Label('GND', (-6.7,-5.12), layer=34, texttype=10))
nonovclkgen.add(gdstk.Label('PHI1_out', (39.792,-2.402), layer=34, texttype=10))
nonovclkgen.add(gdstk.Label('PHI2_out', (39.792,-7.827), layer=34, texttype=10))

lib.write_gds('NonOvCLKGen.gds')
